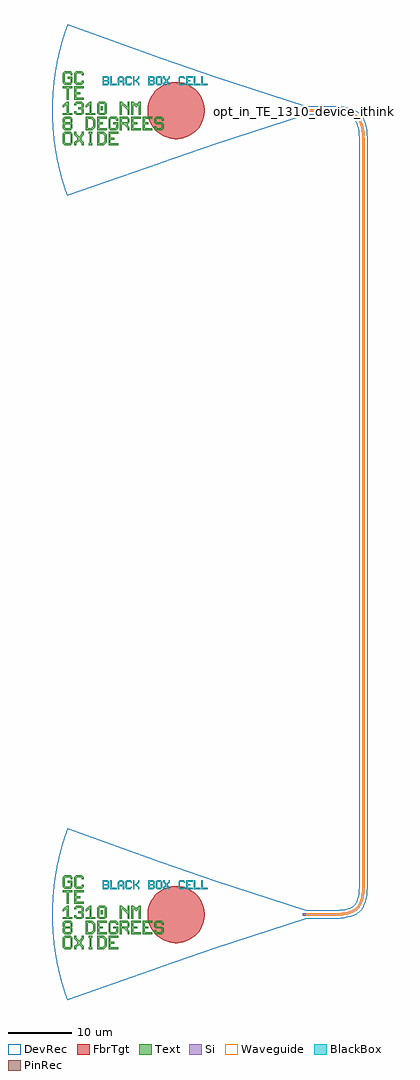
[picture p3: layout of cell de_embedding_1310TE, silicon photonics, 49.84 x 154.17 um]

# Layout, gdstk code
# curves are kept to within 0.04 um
import gdstk
lib = gdstk.Library(unit=1e-6, precision=1e-09)
def R(c, l, rs):  # rectangles x0, y0, x1, y1
    for r in rs: c.add(gdstk.rectangle(r[:2], r[2:], *l))
def P(c, l, *ps):  # polygons
    for p in ps: c.add(gdstk.Polygon(p, *l))
Si = (1, 0)
PinRec = (1, 10)
Waveguide = (1, 99)
Text = (10, 0)
DevRec = (68, 0)
FbrTgt = (81, 0)
BlackBox = (998, 0)

waveguide_10 = lib.new_cell('Waveguide$10')
P(waveguide_10, Si, [(-13.73,-0.355),(-13.73,-0.005),(-8.318,0.035),(-7.172,0.193),(-6.296,0.491),(-5.654,0.944),(-5.373,1.286),(-5.148,1.696),(-4.843,2.763),(-4.714,4.187),(-4.705,121.82),(-4.745,123.032),(-4.903,124.178),(-5.055,124.71),(-5.255,125.16),(-5.507,125.535),(-5.816,125.844),(-6.521,126.251),(-7.473,126.507),(-8.505,126.618),(-13.73,126.645),(-13.73,126.995),(-8.885,126.986),(-7.578,126.878),(-6.66,126.672),(-5.909,126.337),(-5.406,125.944),(-5.014,125.442),(-4.679,124.691),(-4.473,123.773),(-4.365,122.466),(-4.364,4.175),(-4.499,2.703),(-4.636,2.091),(-4.828,1.554),(-5.013,1.199),(-5.318,0.788),(-5.694,0.448),(-6.14,0.177),(-7.096,-0.149),(-8.292,-0.315)])
P(waveguide_10, Waveguide, [(-13.73,-0.355),(-13.73,-0.005),(-8.318,0.035),(-7.172,0.193),(-6.296,0.491),(-5.654,0.944),(-5.373,1.286),(-5.148,1.696),(-4.843,2.763),(-4.714,4.187),(-4.705,121.82),(-4.745,123.032),(-4.903,124.178),(-5.055,124.71),(-5.255,125.16),(-5.507,125.535),(-5.816,125.844),(-6.521,126.251),(-7.473,126.507),(-8.505,126.618),(-13.73,126.645),(-13.73,126.995),(-8.885,126.986),(-7.578,126.878),(-6.66,126.672),(-5.909,126.337),(-5.406,125.944),(-5.014,125.442),(-4.679,124.691),(-4.473,123.773),(-4.365,122.466),(-4.364,4.175),(-4.499,2.703),(-4.636,2.091),(-4.828,1.554),(-5.013,1.199),(-5.318,0.788),(-5.694,0.448),(-6.14,0.177),(-7.096,-0.149),(-8.292,-0.315)])
P(waveguide_10, DevRec, [(-13.73,-0.855),(-13.73,0.495),(-8.293,0.538),(-7.321,0.673),(-6.931,0.775),(-6.332,1.042),(-6.105,1.206),(-5.751,1.623),(-5.484,2.222),(-5.303,3.065),(-5.215,4.168),(-5.205,121.82),(-5.248,123.057),(-5.383,124.029),(-5.485,124.419),(-5.752,125.018),(-5.916,125.245),(-6.333,125.599),(-6.932,125.866),(-7.775,126.047),(-8.878,126.135),(-13.73,126.145),(-13.73,127.495),(-8.832,127.485),(-7.589,127.385),(-6.526,127.154),(-5.619,126.745),(-5.23,126.461),(-4.606,125.732),(-4.197,124.825),(-3.966,123.762),(-3.866,122.52),(-3.865,4.122),(-4.062,2.326),(-4.375,1.342),(-4.889,0.52),(-5.229,0.18),(-6.051,-0.334),(-7.035,-0.647),(-8.185,-0.808)])
waveguide_10.add(gdstk.FlexPath([(-13.72,126.82),(-13.74,126.82)], 0.35, ends="flush", simple_path=True, layer=1, datatype=10))  # PinRec
waveguide_10.add(gdstk.FlexPath([(-13.72,-0.18),(-13.74,-0.18)], 0.35, ends="flush", simple_path=True, layer=1, datatype=10))  # PinRec
waveguide_10.add(gdstk.Label('opt1', (-13.73,126.82), layer=1, texttype=10))
waveguide_10.add(gdstk.Label('opt2', (-13.73,-0.18), layer=1, texttype=10))
waveguide_10.add(gdstk.Label('Lumerical_INTERCONNECT_library=Design kits/EBeam', (-13.73,126.75), layer=68, texttype=0))
waveguide_10.add(gdstk.Label('Component=ebeam_wg_integral_1310', (-13.73,126.89), layer=68, texttype=0))
waveguide_10.add(gdstk.Label('cellName=Waveguide', (-13.73,126.96), layer=68, texttype=0))
waveguide_10.add(gdstk.Label('Spice_param:wg_length=0.000142307 wg_width=3.5e-07 points="[[-13.73,126.82],[-4.53,126.82],[-4.53,-0.18],[-13.73,-0.18]]" radius=5e-06', (-13.73,126.82), layer=68, texttype=0))
waveguide_10.add(gdstk.Label('Length=142.307 (microns)', (-13.73,126.4), layer=68, texttype=0))
waveguide_10.add(gdstk.Label('waveguide_type=Strip TE 1310 nm, w=350 nm', (-13.73,126.68), layer=68, texttype=0))

text_10 = lib.new_cell('TEXT$10')
P(text_10, BlackBox, [(0,0),(0,1.4),(0.8,1.4),(1,1.2),(0.2,1.2),(0.2,0.8),(0.7,0.8),(0.8,0.9),(0.8,1.1),(0.7,1.2),(1,1.2),(1,0.8),(0.9,0.7),(1,0.6),(0.2,0.6),(0.2,0.2),(0.7,0.2),(0.8,0.3),(0.8,0.5),(0.7,0.6),(1,0.6),(1,0.2),(0.8,0)],
  [(1.2,0),(1.2,1.4),(1.4,1.4),(1.4,0.2),(2.2,0.2),(2.2,0)],
  [(2.4,0),(2.4,1.1),(2.7,1.4),(3.1,1.4),(3.3,1.2),(2.8,1.2),(2.6,1),(2.6,0.7),(3.2,0.7),(3.2,1),(3,1.2),(3.3,1.2),(3.4,1.1),(3.4,0),(3.2,0),(3.2,0.5),(2.6,0.5),(2.6,0)],
  [(3.8,0),(3.6,0.2),(3.6,1.2),(3.8,1.4),(4.4,1.4),(4.6,1.2),(4.6,1),(4.4,1),(4.4,1.1),(4.3,1.2),(3.9,1.2),(3.8,1.1),(3.8,0.3),(3.9,0.2),(4.3,0.2),(4.4,0.3),(4.4,0.4),(4.6,0.4),(4.6,0.2),(4.4,0)],
  [(4.8,0),(4.8,1.4),(5,1.4),(5,0.8),(5.2,0.8),(5.6,1.2),(5.6,1.4),(5.8,1.4),(5.8,1.1),(5.4,0.7),(5.8,0.3),(5.8,0),(5.6,0),(5.6,0.2),(5.2,0.6),(5,0.6),(5,0)],
  [(7.2,0),(7.2,1.4),(8,1.4),(8.2,1.2),(7.4,1.2),(7.4,0.8),(7.9,0.8),(8,0.9),(8,1.1),(7.9,1.2),(8.2,1.2),(8.2,0.8),(8.1,0.7),(8.2,0.6),(7.4,0.6),(7.4,0.2),(7.9,0.2),(8,0.3),(8,0.5),(7.9,0.6),(8.2,0.6),(8.2,0.2),(8,0)],
  [(8.6,0),(8.4,0.2),(8.4,1.2),(8.6,1.4),(9.2,1.4),(9.4,1.2),(9.4,0.7),(9.2,0.7),(9.2,1.1),(9.1,1.2),(8.7,1.2),(8.6,1.1),(8.6,0.3),(8.7,0.2),(9.1,0.2),(9.2,0.3),(9.2,0.7),(9.4,0.7),(9.4,0.2),(9.2,0)],
  [(9.6,0),(9.6,0.3),(9.9,0.6),(9.9,0.8),(9.6,1.1),(9.6,1.4),(9.8,1.4),(9.8,1.2),(10.1,0.9),(10.4,1.2),(10.4,1.4),(10.6,1.4),(10.6,1.1),(10.3,0.8),(10.3,0.6),(10.6,0.3),(10.6,0),(10.4,0),(10.4,0.2),(10.1,0.5),(9.8,0.2),(9.8,0)],
  [(12.2,0),(12,0.2),(12,1.2),(12.2,1.4),(12.8,1.4),(13,1.2),(13,1),(12.8,1),(12.8,1.1),(12.7,1.2),(12.3,1.2),(12.2,1.1),(12.2,0.3),(12.3,0.2),(12.7,0.2),(12.8,0.3),(12.8,0.4),(13,0.4),(13,0.2),(12.8,0)],
  [(13.2,0),(13.2,1.4),(14.2,1.4),(14.2,1.2),(13.4,1.2),(13.4,0.8),(13.8,0.8),(13.8,0.6),(13.4,0.6),(13.4,0.2),(14.2,0.2),(14.2,0)],
  [(14.4,0),(14.4,1.4),(14.6,1.4),(14.6,0.2),(15.4,0.2),(15.4,0)],
  [(15.6,0),(15.6,1.4),(15.8,1.4),(15.8,0.2),(16.6,0.2),(16.6,0)])

gc_te_1310_8degoxide_bb = lib.new_cell('GC_TE_1310_8degOxide_BB')
R(gc_te_1310_8degoxide_bb, Si, [(-0.4,-0.175,0,0.175)])
R(gc_te_1310_8degoxide_bb, Text, [(-32.27,0.06,-31.97,0.66)])
P(gc_te_1310_8degoxide_bb, Text, [(-37.67,1.71),(-37.67,3.51),(-38.27,3.51),(-38.27,3.81),(-36.77,3.81),(-36.77,3.51),(-37.37,3.51),(-37.37,1.71)],
  [(-37.97,-5.49),(-38.27,-5.19),(-38.27,-3.69),(-37.97,-3.39),(-37.07,-3.39),(-36.77,-3.69),(-36.77,-4.44),(-37.07,-4.44),(-37.07,-3.84),(-37.22,-3.69),(-37.82,-3.69),(-37.97,-3.84),(-37.97,-5.04),(-37.82,-5.19),(-37.22,-5.19),(-37.07,-5.04),(-37.07,-4.44),(-36.77,-4.44),(-36.77,-5.19),(-37.07,-5.49)],
  [(-31.07,-5.49),(-31.07,-3.39),(-29.57,-3.39),(-29.57,-3.69),(-30.77,-3.69),(-30.77,-4.29),(-30.17,-4.29),(-30.17,-4.59),(-30.77,-4.59),(-30.77,-5.19),(-29.57,-5.19),(-29.57,-5.49)],
  [(-32.87,-3.09),(-32.87,-0.99),(-31.37,-0.99),(-31.37,-1.29),(-32.57,-1.29),(-32.57,-1.89),(-31.97,-1.89),(-31.97,-2.19),(-32.57,-2.19),(-32.57,-2.79),(-31.37,-2.79),(-31.37,-3.09)],
  [(-27.47,-3.09),(-27.47,-0.99),(-25.97,-0.99),(-25.97,-1.29),(-27.17,-1.29),(-27.17,-1.89),(-26.57,-1.89),(-26.57,-2.19),(-27.17,-2.19),(-27.17,-2.79),(-25.97,-2.79),(-25.97,-3.09)],
  [(-25.67,-3.09),(-25.67,-0.99),(-24.17,-0.99),(-24.17,-1.29),(-25.37,-1.29),(-25.37,-1.89),(-24.77,-1.89),(-24.77,-2.19),(-25.37,-2.19),(-25.37,-2.79),(-24.17,-2.79),(-24.17,-3.09)],
  [(-36.47,1.71),(-36.47,3.81),(-34.97,3.81),(-34.97,3.51),(-36.17,3.51),(-36.17,2.91),(-35.57,2.91),(-35.57,2.61),(-36.17,2.61),(-36.17,2.01),(-34.97,2.01),(-34.97,1.71)],
  [(-27.47,-0.69),(-27.47,1.41),(-27.17,1.41),(-26.87,1.11),(-26.57,1.11),(-26.27,1.41),(-25.97,1.41),(-25.97,-0.69),(-26.27,-0.69),(-26.27,0.81),(-26.42,0.81),(-26.72,0.51),(-27.02,0.81),(-27.17,0.81),(-27.17,-0.69)],
  [(-29.27,-0.69),(-29.27,1.41),(-28.97,1.41),(-28.22,0.66),(-28.07,0.66),(-28.07,1.41),(-27.77,1.41),(-27.77,-0.69),(-28.07,-0.69),(-28.07,0.06),(-28.82,0.81),(-28.97,0.81),(-28.97,-0.69)],
  [(-34.22,-5.49),(-34.22,-5.19),(-34.07,-5.19),(-34.07,-3.69),(-34.22,-3.69),(-34.22,-3.39),(-33.62,-3.39),(-33.62,-3.69),(-33.77,-3.69),(-33.77,-5.19),(-33.62,-5.19),(-33.62,-5.49)],
  [(-36.17,-0.69),(-36.47,-0.39),(-36.47,-0.09),(-36.17,-0.09),(-36.17,-0.24),(-36.02,-0.39),(-35.42,-0.39),(-35.27,-0.24),(-35.27,0.06),(-35.42,0.21),(-35.87,0.21),(-35.87,0.51),(-35.42,0.51),(-35.27,0.66),(-35.27,0.96),(-35.42,1.11),(-36.02,1.11),(-36.17,0.96),(-36.17,0.81),(-36.47,0.81),(-36.47,1.11),(-36.17,1.41),(-35.27,1.41),(-34.97,1.11),(-34.97,0.51),(-35.12,0.36),(-34.97,0.21),(-34.97,-0.39),(-35.27,-0.69)],
  [(-29.27,-3.09),(-29.27,-0.99),(-28.07,-0.99),(-27.77,-1.29),(-28.97,-1.29),(-28.97,-1.89),(-28.22,-1.89),(-28.07,-1.74),(-28.07,-1.44),(-28.22,-1.29),(-27.77,-1.29),(-27.77,-1.89),(-28.07,-2.19),(-28.07,-2.34),(-27.77,-2.64),(-27.77,-3.09),(-28.07,-3.09),(-28.07,-2.79),(-28.67,-2.19),(-28.97,-2.19),(-28.97,-3.09)],
  [(-30.77,-3.09),(-31.07,-2.79),(-31.07,-1.29),(-30.77,-0.99),(-29.87,-0.99),(-29.57,-1.29),(-29.57,-1.59),(-29.87,-1.59),(-29.87,-1.44),(-30.02,-1.29),(-30.62,-1.29),(-30.77,-1.44),(-30.77,-2.64),(-30.62,-2.79),(-30.02,-2.79),(-29.87,-2.64),(-29.87,-2.19),(-30.32,-2.19),(-30.32,-1.89),(-29.57,-1.89),(-29.57,-2.79),(-29.87,-3.09)],
  [(-37.97,4.11),(-38.27,4.41),(-38.27,5.91),(-37.97,6.21),(-37.07,6.21),(-36.77,5.91),(-36.77,5.61),(-37.07,5.61),(-37.07,5.76),(-37.22,5.91),(-37.82,5.91),(-37.97,5.76),(-37.97,4.56),(-37.82,4.41),(-37.22,4.41),(-37.07,4.56),(-37.07,5.01),(-37.52,5.01),(-37.52,5.31),(-36.77,5.31),(-36.77,4.41),(-37.07,4.11)],
  [(-32.57,-0.69),(-32.87,-0.39),(-32.87,1.11),(-32.57,1.41),(-31.67,1.41),(-31.37,1.11),(-32.42,1.11),(-32.57,0.96),(-32.57,-0.24),(-32.42,-0.39),(-31.82,-0.39),(-31.67,-0.24),(-31.67,0.96),(-31.82,1.11),(-31.37,1.11),(-31.37,-0.39),(-31.67,-0.69)],
  [(-32.87,-5.49),(-32.87,-3.39),(-31.82,-3.39),(-31.52,-3.69),(-32.57,-3.69),(-32.57,-5.19),(-31.97,-5.19),(-31.67,-4.89),(-31.67,-3.99),(-31.97,-3.69),(-31.52,-3.69),(-31.37,-3.84),(-31.37,-5.04),(-31.82,-5.49)],
  [(-34.67,-3.09),(-34.67,-0.99),(-33.62,-0.99),(-33.32,-1.29),(-34.37,-1.29),(-34.37,-2.79),(-33.77,-2.79),(-33.47,-2.49),(-33.47,-1.59),(-33.77,-1.29),(-33.32,-1.29),(-33.17,-1.44),(-33.17,-2.64),(-33.62,-3.09)],
  [(-23.57,-3.09),(-23.87,-2.79),(-23.87,-2.49),(-23.57,-2.49),(-23.57,-2.64),(-23.42,-2.79),(-22.82,-2.79),(-22.67,-2.64),(-22.67,-2.34),(-22.82,-2.19),(-23.57,-2.19),(-23.87,-1.89),(-23.87,-1.29),(-23.57,-0.99),(-22.67,-0.99),(-22.37,-1.29),(-22.37,-1.59),(-22.67,-1.59),(-22.67,-1.44),(-22.82,-1.29),(-23.42,-1.29),(-23.57,-1.44),(-23.57,-1.74),(-23.42,-1.89),(-22.67,-1.89),(-22.37,-2.19),(-22.37,-2.79),(-22.67,-3.09)],
  [(-37.97,-3.09),(-38.27,-2.79),(-38.27,-2.19),(-38.12,-2.04),(-38.27,-1.89),(-38.27,-1.29),(-37.97,-0.99),(-37.07,-0.99),(-36.77,-1.29),(-37.82,-1.29),(-37.97,-1.44),(-37.97,-1.74),(-37.82,-1.89),(-37.22,-1.89),(-37.07,-1.74),(-37.07,-1.44),(-37.22,-1.29),(-36.77,-1.29),(-36.77,-1.89),(-36.92,-2.04),(-36.77,-2.19),(-37.82,-2.19),(-37.97,-2.34),(-37.97,-2.64),(-37.82,-2.79),(-37.22,-2.79),(-37.07,-2.64),(-37.07,-2.34),(-37.22,-2.19),(-36.77,-2.19),(-36.77,-2.79),(-37.07,-3.09)],
  [(-38.27,-0.69),(-38.27,-0.39),(-37.67,-0.39),(-37.67,0.81),(-37.82,0.81),(-38.12,0.51),(-38.27,0.51),(-38.27,0.81),(-37.67,1.41),(-37.37,1.41),(-37.37,-0.39),(-36.77,-0.39),(-36.77,-0.69)],
  [(-34.67,-0.69),(-34.67,-0.39),(-34.07,-0.39),(-34.07,0.81),(-34.22,0.81),(-34.52,0.51),(-34.67,0.51),(-34.67,0.81),(-34.07,1.41),(-33.77,1.41),(-33.77,-0.39),(-33.17,-0.39),(-33.17,-0.69)],
  [(-36.47,-5.49),(-36.47,-5.04),(-36.02,-4.59),(-36.02,-4.29),(-36.47,-3.84),(-36.47,-3.39),(-36.17,-3.39),(-36.17,-3.69),(-35.72,-4.14),(-35.27,-3.69),(-35.27,-3.39),(-34.97,-3.39),(-34.97,-3.84),(-35.42,-4.29),(-35.42,-4.59),(-34.97,-5.04),(-34.97,-5.49),(-35.27,-5.49),(-35.27,-5.19),(-35.72,-4.74),(-36.17,-5.19),(-36.17,-5.49)],
  [(-36.17,4.11),(-36.47,4.41),(-36.47,5.91),(-36.17,6.21),(-35.27,6.21),(-34.97,5.91),(-34.97,5.61),(-35.27,5.61),(-35.27,5.76),(-35.42,5.91),(-36.02,5.91),(-36.17,5.76),(-36.17,4.56),(-36.02,4.41),(-35.42,4.41),(-35.27,4.56),(-35.27,4.71),(-34.97,4.71),(-34.97,4.41),(-35.27,4.11)])
P(gc_te_1310_8degoxide_bb, DevRec, [(-37.607,-13.5),(-38.627,-10.245),(-39.378,-6.832),(-39.647,-5.058),(-39.835,-3.274),(-39.969,0.224),(-39.812,3.541),(-39.331,7.097),(-38.557,10.505),(-37.546,13.669),(-22.8,8.353),(-14.109,5.36),(0,0.75),(0,-0.75),(-14.109,-5.36)])
P(gc_te_1310_8degoxide_bb, FbrTgt, [(-20.621,-4.5),(-21.495,-4.37),(-22.326,-4.073),(-23.084,-3.619),(-23.738,-3.026),(-24.264,-2.316),(-24.642,-1.518),(-24.857,-0.661),(-24.9,0.221),(-24.77,1.095),(-24.473,1.926),(-24.019,2.684),(-23.426,3.338),(-22.716,3.864),(-21.918,4.242),(-21.061,4.457),(-20.179,4.5),(-19.305,4.37),(-18.474,4.073),(-17.716,3.619),(-17.062,3.026),(-16.536,2.316),(-16.158,1.518),(-15.943,0.661),(-15.9,-0.221),(-16.03,-1.095),(-16.327,-1.926),(-16.781,-2.684),(-17.374,-3.338),(-18.084,-3.864),(-18.882,-4.242),(-19.739,-4.457)])
gc_te_1310_8degoxide_bb.add(gdstk.FlexPath([(-0.01,0),(0.01,0)], 0.35, ends="flush", simple_path=True, layer=1, datatype=10))  # PinRec
gc_te_1310_8degoxide_bb.add(gdstk.Reference(text_10, (-32,4)))
gc_te_1310_8degoxide_bb.add(gdstk.Label('opt1', (0,0), layer=1, texttype=10))
gc_te_1310_8degoxide_bb.add(gdstk.Label('Lumerical_INTERCONNECT_library=Design kits/ebeam', (-29,-7), layer=68, texttype=0))
gc_te_1310_8degoxide_bb.add(gdstk.Label('Component=GC_TE_1310_8degOxide_BB', (-28,-5), layer=68, texttype=0))

de_embedding_1310te = lib.new_cell('de_embedding_1310TE')
de_embedding_1310te.add(gdstk.Reference(waveguide_10, (0,0)))
de_embedding_1310te.add(gdstk.Reference(gc_te_1310_8degoxide_bb, (-13.73,-0.18)))
de_embedding_1310te.add(gdstk.Reference(gc_te_1310_8degoxide_bb, (-13.73,126.82)))
de_embedding_1310te.add(gdstk.Label('opt_in_TE_1310_device_ithinkiamsudipta_circuit2_deembedding1310TE', (-13.82,126.7), layer=10, texttype=0))

lib.write_gds('de_embedding_1310TE.gds')
